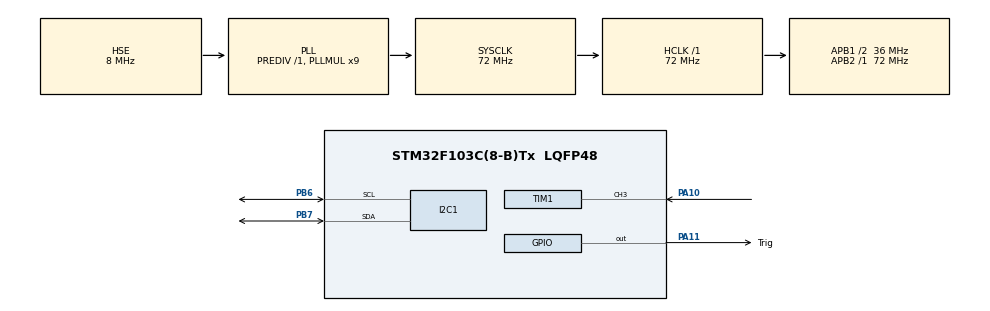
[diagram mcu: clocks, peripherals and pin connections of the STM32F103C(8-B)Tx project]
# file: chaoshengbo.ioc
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Mcu.Family=STM32F1
Mcu.Name=STM32F103C(8-B)Tx
Mcu.Package=LQFP48
NVIC.PriorityGroup=NVIC_PRIORITYGROUP_4
NVIC.TIM1_CC_IRQn=true\:0\:0\:false\:false\:true\:true\:true\:true
PA10.Signal=S_TIM1_CH3
PA11.GPIO_Label=Trig
PA11.Signal=GPIO_Output
PA13.Mode=Serial_Wire
PA13.Signal=SYS_JTMS-SWDIO
PA14.Mode=Serial_Wire
PA14.Signal=SYS_JTCK-SWCLK
PB6.Mode=I2C
PB6.Signal=I2C1_SCL
PB7.Mode=I2C
PB7.Signal=I2C1_SDA
PD0-OSC_IN.Mode=HSE-External-Oscillator
PD0-OSC_IN.Signal=RCC_OSC_IN
PD1-OSC_OUT.Mode=HSE-External-Oscillator
PD1-OSC_OUT.Signal=RCC_OSC_OUT
ProjectManager.HeapSize=0x200
ProjectManager.StackSize=0x400
ProjectManager.TargetToolchain=STM32CubeIDE
RCC.AHBFreq_Value=72000000
RCC.APB1CLKDivider=RCC_HCLK_DIV2
RCC.APB1Freq_Value=36000000
RCC.APB1TimFreq_Value=72000000
RCC.APB2Freq_Value=72000000
RCC.APB2TimFreq_Value=72000000
RCC.HCLKFreq_Value=72000000
RCC.PLLMUL=RCC_PLL_MUL9
RCC.PLLSourceVirtual=RCC_PLLSOURCE_HSE
RCC.SYSCLKFreq_VALUE=72000000
RCC.SYSCLKSource=RCC_SYSCLKSOURCE_PLLCLK
RCC.USBFreq_Value=72000000
SH.S_TIM1_CH3.0=TIM1_CH3,Input_Capture3_from_TI3
TIM1.Channel-Input_Capture3_from_TI3=TIM_CHANNEL_3
TIM1.Channel-Input_Capture4_from_TI3_63=TIM_CHANNEL_4
TIM1.ICPolarity_CH4=TIM_INPUTCHANNELPOLARITY_FALLING
TIM1.Prescaler=72
VP_TIM1_VS_ClockSourceINT.Mode=Internal
VP_TIM1_VS_indirect_ch3.Mode=Input_Capture4_from_TI3_63
board=custom

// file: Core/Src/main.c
/* USER CODE BEGIN Header */
/**
  ******************************************************************************
  * @file           : main.c
  * @brief          : Main program body
  ******************************************************************************
  * @attention
  *
  * Copyright (c) 2024 STMicroelectronics.
  * All rights reserved.
  *
  * This software is licensed under terms that can be found in the LICENSE file
  * in the root directory of this software component.
  * If no LICENSE file comes with this software, it is provided AS-IS.
  *
  ******************************************************************************
  */
/* USER CODE END Header */
#include "main.h"
#include "i2c.h"
#include "tim.h"
#include "gpio.h"

/* USER CODE BEGIN Includes */
#include "oled.h"
#include "stdio.h"
#include "string.h"
/* USER CODE END Includes */

void SystemClock_Config(void);

/* USER CODE BEGIN 0 */
int upEdge=0;
int downEdge=0;
float disatnce=0;
void HAL_TIM_IC_CaptureCallback(TIM_HandleTypeDef *htim)
{
  if (htim==&htim1 && htim->Channel==HAL_TIM_ACTIVE_CHANNEL_4)
  {
    upEdge=HAL_TIM_ReadCapturedValue(&htim1, TIM_CHANNEL_3);
    downEdge=HAL_TIM_ReadCapturedValue(&htim1, TIM_CHANNEL_4);
    disatnce=(downEdge-upEdge)*0.034/2;
  }
}
/* USER CODE END 0 */

int main(void)
{

  /* MCU Configuration--------------------------------------------------------*/

  /* Reset of all peripherals, Initializes the Flash interface and the Systick. */
  HAL_Init();

  /* Configure the system clock */
  SystemClock_Config();

  /* Initialize all configured peripherals */
  MX_GPIO_Init();
  MX_I2C1_Init();
  MX_TIM1_Init();
  /* USER CODE BEGIN 2 */
  HAL_Delay(20);
  OLED_Init();

  HAL_TIM_Base_Start(&htim1);
  HAL_TIM_IC_Start(&htim1, TIM_CHANNEL_3);
  HAL_TIM_IC_Start_IT(&htim1, TIM_CHANNEL_4);

  char str[20]="";
  /* USER CODE END 2 */

  /* Infinite loop */
  /* USER CODE BEGIN WHILE */
  while (1)
  {
    HAL_GPIO_WritePin(Trig_GPIO_Port, Trig_Pin, GPIO_PIN_SET);
    HAL_Delay(1);
    HAL_GPIO_WritePin(Trig_GPIO_Port, Trig_Pin, GPIO_PIN_RESET);
    __HAL_TIM_SET_COUNTER(&htim1, 0);
    HAL_Delay(20);

    OLED_NewFrame();
    sprintf(str, "Dis:%.2fcm", disatnce);
    OLED_PrintString(0,0,str,&font16x16,OLED_COLOR_NORMAL);
    OLED_ShowFrame();

    HAL_Delay(500);

    /* USER CODE END WHILE */

  }
}

void SystemClock_Config(void)
{
  RCC_OscInitTypeDef RCC_OscInitStruct = {0};
  RCC_ClkInitTypeDef RCC_ClkInitStruct = {0};

  /** Initializes the RCC Oscillators according to the specified parameters
  * in the RCC_OscInitTypeDef structure.
  */
  RCC_OscInitStruct.OscillatorType = RCC_OSCILLATORTYPE_HSE;
  RCC_OscInitStruct.HSEState = RCC_HSE_ON;
  RCC_OscInitStruct.HSEPredivValue = RCC_HSE_PREDIV_DIV1;
  RCC_OscInitStruct.HSIState = RCC_HSI_ON;
  RCC_OscInitStruct.PLL.PLLState = RCC_PLL_ON;
  RCC_OscInitStruct.PLL.PLLSource = RCC_PLLSOURCE_HSE;
  RCC_OscInitStruct.PLL.PLLMUL = RCC_PLL_MUL9;
  if (HAL_RCC_OscConfig(&RCC_OscInitStruct) != HAL_OK)
  {
    Error_Handler();
  }

  /** Initializes the CPU, AHB and APB buses clocks
  */
  RCC_ClkInitStruct.ClockType = RCC_CLOCKTYPE_HCLK|RCC_CLOCKTYPE_SYSCLK
                              |RCC_CLOCKTYPE_PCLK1|RCC_CLOCKTYPE_PCLK2;
  RCC_ClkInitStruct.SYSCLKSource = RCC_SYSCLKSOURCE_PLLCLK;
  RCC_ClkInitStruct.AHBCLKDivider = RCC_SYSCLK_DIV1;
  RCC_ClkInitStruct.APB1CLKDivider = RCC_HCLK_DIV2;
  RCC_ClkInitStruct.APB2CLKDivider = RCC_HCLK_DIV1;

  if (HAL_RCC_ClockConfig(&RCC_ClkInitStruct, FLASH_LATENCY_2) != HAL_OK)
  {
    Error_Handler();
  }
}

void Error_Handler(void)
{
  __disable_irq();
  while (1)
  {
  }
}
